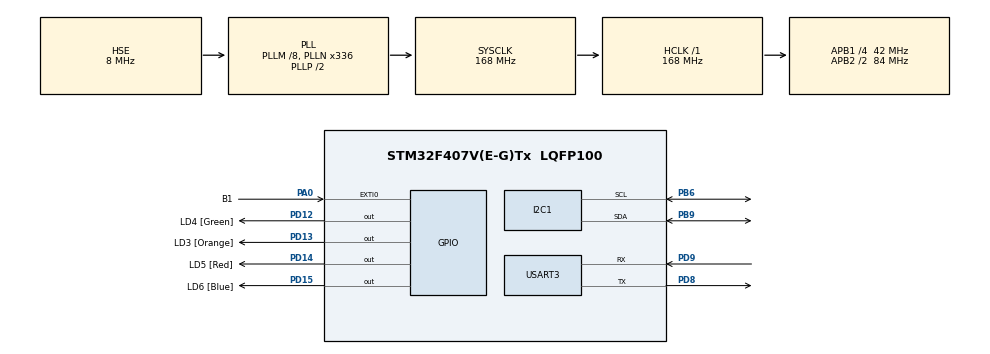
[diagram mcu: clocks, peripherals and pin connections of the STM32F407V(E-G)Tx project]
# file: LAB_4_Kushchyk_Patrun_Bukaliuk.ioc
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Mcu.Family=STM32F4
Mcu.Name=STM32F407V(E-G)Tx
Mcu.Package=LQFP100
NVIC.EXTI0_IRQn=true\:0\:0\:false\:false\:true\:true\:true\:true
NVIC.PriorityGroup=NVIC_PRIORITYGROUP_4
PA0-WKUP.GPIO_Label=B1
PA0-WKUP.GPIO_ModeDefaultEXTI=GPIO_MODE_IT_RISING_FALLING
PA0-WKUP.Signal=GPXTI0
PA13.Mode=Serial_Wire
PA13.Signal=SYS_JTMS-SWDIO
PA14.Mode=Serial_Wire
PA14.Signal=SYS_JTCK-SWCLK
PB6.Mode=I2C
PB6.Signal=I2C1_SCL
PB9.Mode=I2C
PB9.Signal=I2C1_SDA
PC14-OSC32_IN.Mode=LSE-External-Oscillator
PC14-OSC32_IN.Signal=RCC_OSC32_IN
PC15-OSC32_OUT.Mode=LSE-External-Oscillator
PC15-OSC32_OUT.Signal=RCC_OSC32_OUT
PD12.GPIO_Label=LD4 [Green]
PD12.Signal=GPIO_Output
PD13.GPIO_Label=LD3 [Orange]
PD13.Signal=GPIO_Output
PD14.GPIO_Label=LD5 [Red]
PD14.Signal=GPIO_Output
PD15.GPIO_Label=LD6 [Blue]
PD15.Signal=GPIO_Output
PD8.Mode=Asynchronous
PD8.Signal=USART3_TX
PD9.Mode=Asynchronous
PD9.Signal=USART3_RX
PH0-OSC_IN.Mode=HSE-External-Oscillator
PH0-OSC_IN.Signal=RCC_OSC_IN
PH1-OSC_OUT.Mode=HSE-External-Oscillator
PH1-OSC_OUT.Signal=RCC_OSC_OUT
ProjectManager.HeapSize=0x200
ProjectManager.StackSize=0x400
ProjectManager.TargetToolchain=STM32CubeIDE
RCC.48MHZClocksFreq_Value=84000000
RCC.AHBFreq_Value=168000000
RCC.APB1CLKDivider=RCC_HCLK_DIV4
RCC.APB1Freq_Value=42000000
RCC.APB1TimFreq_Value=84000000
RCC.APB2CLKDivider=RCC_HCLK_DIV2
RCC.APB2Freq_Value=84000000
RCC.APB2TimFreq_Value=168000000
RCC.CortexFreq_Value=168000000
RCC.HCLKFreq_Value=168000000
RCC.HSE_VALUE=8000000
RCC.HSI_VALUE=16000000
RCC.PLLM=8
RCC.PLLN=336
RCC.PLLSourceVirtual=RCC_PLLSOURCE_HSE
RCC.SYSCLKFreq_VALUE=168000000
RCC.SYSCLKSource=RCC_SYSCLKSOURCE_PLLCLK
RCC.VCOOutputFreq_Value=336000000
USART3.VirtualMode=VM_ASYNC
board=custom

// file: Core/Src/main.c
/* USER CODE BEGIN Header */
/**
  ******************************************************************************
  * @file           : main.c
  * @brief          : Main program body
  ******************************************************************************
  * @attention
  *
  * Copyright (c) 2024 STMicroelectronics.
  * All rights reserved.
  *
  * This software is licensed under terms that can be found in the LICENSE file
  * in the root directory of this software component.
  * If no LICENSE file comes with this software, it is provided AS-IS.
  *
  ******************************************************************************
  */
/* USER CODE END Header */
#include "main.h"

/* USER CODE BEGIN Includes */
#include "stdio.h"
/* USER CODE END Includes */

/* USER CODE BEGIN PD */
#define LED_RIGHT_Pin GPIO_PIN_14//red
#define LED_LEFT_Pin GPIO_PIN_12//green
#define LED_UP_Pin GPIO_PIN_13//orange
#define LED_DOWN_Pin GPIO_PIN_15 //blue

#define ACC_GYRO_ADDR  0x6B << 1  // Акселерометр/Гіроскоп (<< 1 для HAL)
#define MAG_ADDR       0x1E << 1  // Магнетометр (<< 1 для HAL)

// Регістри
#define OUT_X_L_G      0x18  // Гіроскоп X-axis Low byte
#define OUT_X_L_XL     0x28  // Акселерометр X-axis Low byte
#define OUT_X_L_M      0x28  // Магнетометр X-axis Low byte

/* USER CODE END PD */

I2C_HandleTypeDef hi2c1;

UART_HandleTypeDef huart3;

/* USER CODE BEGIN PV */
uint32_t currentClick = 0;
uint32_t prevClick = 0;
uint8_t mode = 0;
uint8_t MAX_NUMBER_MODE = 5;

int16_t acc[3], gyro[3], mag[3];
int16_t LIMIT = 10;
/* USER CODE END PV */

void SystemClock_Config(void);
static void MX_GPIO_Init(void);
static void MX_USART3_UART_Init(void);
static void MX_I2C1_Init(void);

/* USER CODE BEGIN PFP */
void UpdateLEDs();
void ClearLEDs();
void LSM9DS1_Init();
void LSM9DS1_ReadData(int16_t*, int16_t*, int16_t*);

/* USER CODE END PFP */

/* USER CODE BEGIN 0 */
int __io_putchar(int ch)
{
	HAL_UART_Transmit(&huart3, (uint8_t *)&ch, 1, 200);
	return ch;
}
/* USER CODE END 0 */

int main(void)
{

  /* MCU Configuration--------------------------------------------------------*/

  /* Reset of all peripherals, Initializes the Flash interface and the Systick. */
  HAL_Init();

  /* Configure the system clock */
  SystemClock_Config();

  /* Initialize all configured peripherals */
  MX_GPIO_Init();
  MX_USART3_UART_Init();
  MX_I2C1_Init();

  /* Infinite loop */
  /* USER CODE BEGIN WHILE */
  LSM9DS1_Init();

  while (1) {
          // Зчитування даних
 LSM9DS1_ReadData(acc, gyro, mag);

          // Вивід у форматі UART

//          HAL_Delay(1000);

	  ClearLEDs();

	  switch(mode)
	  {
	  	  case 0:
	  		 printf("ACC: X:%d, Y:%d, Z:%d\r\n", acc[0], acc[1], acc[2]);
//	  		 HAL_GPIO_WritePin(GPIOD, GPIO_PIN_12, GPIO_PIN_SET);
	  		 break;
	  	  case 1:
	  		  printf("GYRO: X:%d, Y:%d, Z:%d\r\n", gyro[0], gyro[1], gyro[2]);
//	  		  HAL_GPIO_WritePin(GPIOD, GPIO_PIN_13, GPIO_PIN_SET);
	  		  break;
	  	  case 2:
	  		  printf("MAG: X:%d, Y:%d, Z:%d\r\n", mag[0], mag[1], mag[2]);
//	  		  HAL_GPIO_WritePin(GPIOD, GPIO_PIN_14, GPIO_PIN_SET);
	  		  break;
	  	  case 3:
          	  printf("ACC: X:%d, Y:%d, Z:%d\r\n", acc[0], acc[1], acc[2]);
          	  printf("GYRO: X:%d, Y:%d, Z:%d\r\n", gyro[0], gyro[1], gyro[2]);
			  printf("MAG: X:%d, Y:%d, Z:%d\r\n", mag[0], mag[1], mag[2]);

//			  HAL_GPIO_WritePin(GPIOD, GPIO_PIN_15, GPIO_PIN_SET);
			  break;
	  	  case 4:
	  		printf("LED\n\r");
	  		//printf("ACC: X:%d, Y:%d, Z:%d\r\n", acc[0], acc[1], acc[2]);
	  		UpdateLEDs();
	  	  default:
	  		  break;
	  }
	  HAL_Delay(200);

  }
  /* USER CODE END 3 */
}

void SystemClock_Config(void)
{
  RCC_OscInitTypeDef RCC_OscInitStruct = {0};
  RCC_ClkInitTypeDef RCC_ClkInitStruct = {0};

  /** Configure the main internal regulator output voltage
  */
  __HAL_RCC_PWR_CLK_ENABLE();
  __HAL_PWR_VOLTAGESCALING_CONFIG(PWR_REGULATOR_VOLTAGE_SCALE1);

  /** Initializes the RCC Oscillators according to the specified parameters
  * in the RCC_OscInitTypeDef structure.
  */
  RCC_OscInitStruct.OscillatorType = RCC_OSCILLATORTYPE_HSE;
  RCC_OscInitStruct.HSEState = RCC_HSE_ON;
  RCC_OscInitStruct.PLL.PLLState = RCC_PLL_ON;
  RCC_OscInitStruct.PLL.PLLSource = RCC_PLLSOURCE_HSE;
  RCC_OscInitStruct.PLL.PLLM = 8;
  RCC_OscInitStruct.PLL.PLLN = 336;
  RCC_OscInitStruct.PLL.PLLP = RCC_PLLP_DIV2;
  RCC_OscInitStruct.PLL.PLLQ = 4;
  if (HAL_RCC_OscConfig(&RCC_OscInitStruct) != HAL_OK)
  {
    Error_Handler();
  }

  /** Initializes the CPU, AHB and APB buses clocks
  */
  RCC_ClkInitStruct.ClockType = RCC_CLOCKTYPE_HCLK|RCC_CLOCKTYPE_SYSCLK
                              |RCC_CLOCKTYPE_PCLK1|RCC_CLOCKTYPE_PCLK2;
  RCC_ClkInitStruct.SYSCLKSource = RCC_SYSCLKSOURCE_PLLCLK;
  RCC_ClkInitStruct.AHBCLKDivider = RCC_SYSCLK_DIV1;
  RCC_ClkInitStruct.APB1CLKDivider = RCC_HCLK_DIV4;
  RCC_ClkInitStruct.APB2CLKDivider = RCC_HCLK_DIV2;

  if (HAL_RCC_ClockConfig(&RCC_ClkInitStruct, FLASH_LATENCY_5) != HAL_OK)
  {
    Error_Handler();
  }
}

static void MX_I2C1_Init(void)
{

  hi2c1.Instance = I2C1;
  hi2c1.Init.ClockSpeed = 100000;
  hi2c1.Init.DutyCycle = I2C_DUTYCYCLE_2;
  hi2c1.Init.OwnAddress1 = 0;
  hi2c1.Init.AddressingMode = I2C_ADDRESSINGMODE_7BIT;
  hi2c1.Init.DualAddressMode = I2C_DUALADDRESS_DISABLE;
  hi2c1.Init.OwnAddress2 = 0;
  hi2c1.Init.GeneralCallMode = I2C_GENERALCALL_DISABLE;
  hi2c1.Init.NoStretchMode = I2C_NOSTRETCH_DISABLE;
  if (HAL_I2C_Init(&hi2c1) != HAL_OK)
  {
    Error_Handler();
  }

}

static void MX_USART3_UART_Init(void)
{

  huart3.Instance = USART3;
  huart3.Init.BaudRate = 115200;
  huart3.Init.WordLength = UART_WORDLENGTH_8B;
  huart3.Init.StopBits = UART_STOPBITS_1;
  huart3.Init.Parity = UART_PARITY_NONE;
  huart3.Init.Mode = UART_MODE_TX_RX;
  huart3.Init.HwFlowCtl = UART_HWCONTROL_NONE;
  huart3.Init.OverSampling = UART_OVERSAMPLING_16;
  if (HAL_UART_Init(&huart3) != HAL_OK)
  {
    Error_Handler();
  }

}

static void MX_GPIO_Init(void)
{
  GPIO_InitTypeDef GPIO_InitStruct = {0};

  /* GPIO Ports Clock Enable */
  __HAL_RCC_GPIOC_CLK_ENABLE();
  __HAL_RCC_GPIOH_CLK_ENABLE();
  __HAL_RCC_GPIOA_CLK_ENABLE();
  __HAL_RCC_GPIOD_CLK_ENABLE();
  __HAL_RCC_GPIOB_CLK_ENABLE();

  /*Configure GPIO pin Output Level */
  HAL_GPIO_WritePin(GPIOD, LD4_Pin|LD3_Pin|LD5_Pin|LD6_Pin, GPIO_PIN_RESET);

  /*Configure GPIO pin : B1_Pin */
  GPIO_InitStruct.Pin = B1_Pin;
  GPIO_InitStruct.Mode = GPIO_MODE_IT_RISING_FALLING;
  GPIO_InitStruct.Pull = GPIO_NOPULL;
  HAL_GPIO_Init(B1_GPIO_Port, &GPIO_InitStruct);

  /*Configure GPIO pins : LD4_Pin LD3_Pin LD5_Pin LD6_Pin */
  GPIO_InitStruct.Pin = LD4_Pin|LD3_Pin|LD5_Pin|LD6_Pin;
  GPIO_InitStruct.Mode = GPIO_MODE_OUTPUT_PP;
  GPIO_InitStruct.Pull = GPIO_NOPULL;
  GPIO_InitStruct.Speed = GPIO_SPEED_FREQ_LOW;
  HAL_GPIO_Init(GPIOD, &GPIO_InitStruct);

  /* EXTI interrupt init*/
  HAL_NVIC_SetPriority(EXTI0_IRQn, 0, 0);
  HAL_NVIC_EnableIRQ(EXTI0_IRQn);

}

/* USER CODE BEGIN 4 */

// Функція для запису в регістр
void I2C_Write(uint16_t devAddr, uint8_t regAddr, uint8_t data) {
    uint8_t temp[2] = {regAddr, data};
    HAL_I2C_Master_Transmit(&hi2c1, devAddr, temp, 2, HAL_MAX_DELAY);
}

// Функція для читання з регістрів
void I2C_Read(uint16_t devAddr, uint8_t regAddr, uint8_t *data, uint16_t size) {
    HAL_I2C_Master_Transmit(&hi2c1, devAddr, &regAddr, 1, HAL_MAX_DELAY);
    HAL_I2C_Master_Receive(&hi2c1, devAddr, data, size, HAL_MAX_DELAY);
}

// Функція для ініціалізації LSM9DS1
void LSM9DS1_Init() {
    // Ініціалізація гіроскопа
    I2C_Write(ACC_GYRO_ADDR, 0x10, 0xC0);  // CTRL_REG1_G: 238Hz, 2000dps

    // Ініціалізація акселерометра
    I2C_Write(ACC_GYRO_ADDR, 0x20, 0xC0);  // CTRL_REG6_XL: 238Hz, ±8g

    // Ініціалізація магнетометра
    I2C_Write(MAG_ADDR, 0x20, 0xFC);      // CTRL_REG1_M: Ultra-high performance
}

// Зчитування даних акселерометра, гіроскопа і магнетометра
void LSM9DS1_ReadData(int16_t *acc, int16_t *gyro, int16_t *mag) {
    uint8_t buffer[6];

    // Зчитування акселерометра
    I2C_Read(ACC_GYRO_ADDR, OUT_X_L_XL, buffer, 6);
    acc[0] = (int16_t)(buffer[0] | (buffer[1] << 8));
    acc[1] = (int16_t)(buffer[2] | (buffer[3] << 8));
    acc[2] = (int16_t)(buffer[4] | (buffer[5] << 8));

    // Зчитування гіроскопа
    I2C_Read(ACC_GYRO_ADDR, OUT_X_L_G, buffer, 6);
    gyro[0] = (int16_t)(buffer[0] | (buffer[1] << 8));
    gyro[1] = (int16_t)(buffer[2] | (buffer[3] << 8));
    gyro[2] = (int16_t)(buffer[4] | (buffer[5] << 8));

    // Зчитування магнетометра
    I2C_Read(MAG_ADDR, OUT_X_L_M, buffer, 6);
    mag[0] = (int16_t)(buffer[0] | (buffer[1] << 8));
    mag[1] = (int16_t)(buffer[2] | (buffer[3] << 8));
    mag[2] = (int16_t)(buffer[4] | (buffer[5] << 8));
}

// Вивід даних через UART

void HAL_GPIO_EXTI_Callback(uint16_t GPIO_Pin)
{
	currentClick = HAL_GetTick();
	if (GPIO_Pin == GPIO_PIN_0 && (currentClick - prevClick > 200))
	{
		/*
		HAL_GPIO_WritePin(GPIOD, GPIO_PIN_12, GPIO_PIN_SET);
		HAL_GPIO_WritePin(GPIOD, GPIO_PIN_13, GPIO_PIN_SET);
		HAL_GPIO_WritePin(GPIOD, GPIO_PIN_14, GPIO_PIN_SET);
		HAL_GPIO_WritePin(GPIOD, GPIO_PIN_15, GPIO_PIN_SET);
		HAL_Delay(500);
		HAL_GPIO_WritePin(GPIOD, GPIO_PIN_12, GPIO_PIN_RESET);
		HAL_GPIO_WritePin(GPIOD, GPIO_PIN_13, GPIO_PIN_RESET);
		HAL_GPIO_WritePin(GPIOD, GPIO_PIN_14, GPIO_PIN_RESET);
		HAL_GPIO_WritePin(GPIOD, GPIO_PIN_15, GPIO_PIN_RESET);
		 */

		prevClick = currentClick;
		mode = (mode + 1) % MAX_NUMBER_MODE;
	}
}

void UpdateLEDs() {
    if (acc[0] > LIMIT && acc[1] > LIMIT) {
        HAL_GPIO_WritePin(GPIOD, LED_RIGHT_Pin, GPIO_PIN_SET);
        HAL_GPIO_WritePin(GPIOD, LED_LEFT_Pin, GPIO_PIN_RESET);
        HAL_GPIO_WritePin(GPIOD, LED_UP_Pin, GPIO_PIN_SET);
        HAL_GPIO_WritePin(GPIOD, LED_DOWN_Pin, GPIO_PIN_RESET);
    } else if (acc[0] < -LIMIT && acc[1] < -LIMIT) {
        HAL_GPIO_WritePin(GPIOD, LED_RIGHT_Pin, GPIO_PIN_RESET);
        HAL_GPIO_WritePin(GPIOD, LED_LEFT_Pin, GPIO_PIN_SET);
        HAL_GPIO_WritePin(GPIOD, LED_UP_Pin, GPIO_PIN_RESET);
        HAL_GPIO_WritePin(GPIOD, LED_DOWN_Pin, GPIO_PIN_SET);
    }else if(acc[0] < -LIMIT && acc[1] > LIMIT) {
    	HAL_GPIO_WritePin(GPIOD, LED_LEFT_Pin, GPIO_PIN_RESET);
    	HAL_GPIO_WritePin(GPIOD, LED_RIGHT_Pin, GPIO_PIN_SET);
    	HAL_GPIO_WritePin(GPIOD, LED_DOWN_Pin, GPIO_PIN_SET);
    	HAL_GPIO_WritePin(GPIOD, LED_UP_Pin, GPIO_PIN_RESET);
    }else if(acc[0] > LIMIT && acc[1] < -LIMIT) {
    	HAL_GPIO_WritePin(GPIOD, LED_LEFT_Pin, GPIO_PIN_SET);
    	HAL_GPIO_WritePin(GPIOD, LED_RIGHT_Pin, GPIO_PIN_RESET);
    	HAL_GPIO_WritePin(GPIOD, LED_DOWN_Pin, GPIO_PIN_RESET);
    	HAL_GPIO_WritePin(GPIOD, LED_UP_Pin, GPIO_PIN_SET);
    }
    else {
        HAL_GPIO_WritePin(GPIOD, LED_RIGHT_Pin, GPIO_PIN_RESET);
        HAL_GPIO_WritePin(GPIOD, LED_LEFT_Pin, GPIO_PIN_RESET);
        HAL_GPIO_WritePin(GPIOD, LED_UP_Pin, GPIO_PIN_RESET);
        HAL_GPIO_WritePin(GPIOD, LED_DOWN_Pin, GPIO_PIN_RESET);
    }
}

void ClearLEDs() {
	HAL_GPIO_WritePin(GPIOD, LED_UP_Pin, GPIO_PIN_RESET);
	HAL_GPIO_WritePin(GPIOD, LED_DOWN_Pin, GPIO_PIN_RESET);
	HAL_GPIO_WritePin(GPIOD, LED_RIGHT_Pin, GPIO_PIN_RESET);
	HAL_GPIO_WritePin(GPIOD, LED_LEFT_Pin, GPIO_PIN_RESET);
}
/* USER CODE END 4 */

void Error_Handler(void)
{
  __disable_irq();
  while (1)
  {
  }
}
